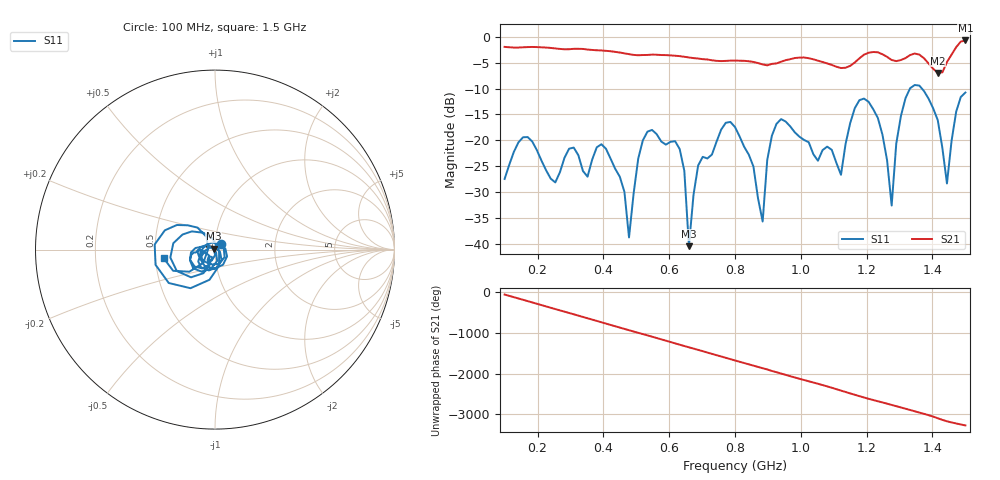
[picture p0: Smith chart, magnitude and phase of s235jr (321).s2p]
! NanoVNA-App
! Date: 2025-09-25 15:06:39
! Start: 100MHz Stop: 1,5GHz Points: 101
! S-Parameter data: F S11 S21 S12 S22
# Hz S RI R 50
!  Frequency  S11_Real  S11_Imag  S21_Real  S21_Imag  S12_Real  S12_Imag  S22_Real  S22_Imag
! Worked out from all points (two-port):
!   101 points, 100 MHz to 1.5 GHz, reference 50 ohm
!   highest |S21| = -0.72 dB at 1.5 GHz (marker M1); lowest = -7.0 dB at 1.416 GHz (marker M2)
!   |S21| within 3 dB of the highest: start of sweep to 627.4 MHz; 1.187 GHz to 1.257 GHz (70.39 MHz wide, 5.76 % of centre) (the widest 2 of 4)
!   lowest |S11| = -40.5 dB at 660 MHz (marker M3), VSWR 1.02, Z = 49.2 + j0.54 ohm
!   |S11| at or under -10 dB: start of sweep to 1.332 GHz; 1.368 GHz to end of sweep
!   S12 and S22 are empty: the file has one direction only
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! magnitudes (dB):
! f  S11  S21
! 100 MHz  -27.5  -2.0
! 156 MHz  -19.4  -2.0
! 338 MHz  -25.9  -2.4
! 408 MHz  -21.6  -2.7
! 478 MHz  -38.8  -3.4
! 520 MHz  -20.0  -3.5
! 576 MHz  -20.2  -3.5
! 632 MHz  -21.7  -3.7
! 660 MHz  -40.5  -4.0
! 688 MHz  -24.9  -4.2
! 800 MHz  -17.4  -4.6
! 884 MHz  -35.7  -5.3
! 926 MHz  -16.8  -5.2
! 1.038 GHz  -22.7  -4.4
! 1.122 GHz  -26.7  -6.0
! 1.192 GHz  -11.9  -3.5
! 1.248 GHz  -18.9  -3.4
! 1.276 GHz  -32.6  -4.5
! 1.332 GHz  -10.0  -3.5
! 1.416 GHz  -16.1  -7.0
! 1.444 GHz  -28.3  -4.9
! 1.5 GHz  -10.8  -0.7
